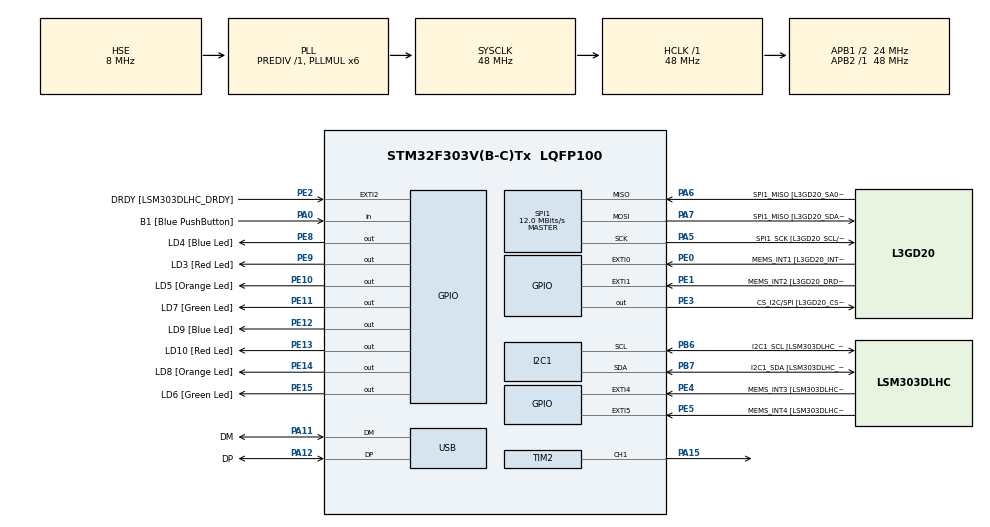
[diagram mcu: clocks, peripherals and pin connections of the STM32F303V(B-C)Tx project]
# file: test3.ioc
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I2C1.Timing-I2C=0x2000090E
Mcu.Family=STM32F3
Mcu.Name=STM32F303V(B-C)Tx
Mcu.Package=LQFP100
NVIC.PriorityGroup=NVIC_PRIORITYGROUP_0
NVIC.TIM3_IRQn=true\:0\:0\:false\:false\:true\:true\:true\:true
PA0.GPIO_Label=B1 [Blue PushButton]
PA0.Signal=GPIO_Input
PA11.GPIO_Label=DM
PA11.Mode=Device
PA11.Signal=USB_DM
PA12.GPIO_Label=DP
PA12.Mode=Device
PA12.Signal=USB_DP
PA13.GPIO_Label=SWDIO
PA13.Mode=Serial_Wire
PA13.Signal=SYS_JTMS-SWDIO
PA14.GPIO_Label=SWCLK
PA14.Mode=Serial_Wire
PA14.Signal=SYS_JTCK-SWCLK
PA15.Signal=S_TIM2_CH1_ETR
PA5.GPIO_Label=SPI1_SCK [L3GD20_SCL/SPC]
PA5.Mode=Full_Duplex_Master
PA5.Signal=SPI1_SCK
PA6.GPIO_Label=SPI1_MISO [L3GD20_SA0/SDO]
PA6.Mode=Full_Duplex_Master
PA6.Signal=SPI1_MISO
PA7.GPIO_Label=SPI1_MISO [L3GD20_SDA/SDI/SDO]
PA7.Mode=Full_Duplex_Master
PA7.Signal=SPI1_MOSI
PB3.GPIO_Label=SWO
PB3.Signal=SYS_JTDO-TRACESWO
PB6.GPIO_Label=I2C1_SCL [LSM303DLHC_SCL]
PB6.GPIO_Pu=GPIO_PULLUP
PB6.Mode=I2C
PB6.Signal=I2C1_SCL
PB7.GPIO_Label=I2C1_SDA [LSM303DLHC_SDA]
PB7.GPIO_Pu=GPIO_PULLUP
PB7.Mode=I2C
PB7.Signal=I2C1_SDA
PC14-OSC32_IN.GPIO_Label=OSC32_IN
PC14-OSC32_IN.Signal=RCC_OSC32_IN
PC15-OSC32_OUT.GPIO_Label=OSC32_OUT
PC15-OSC32_OUT.Signal=RCC_OSC32_OUT
PE0.GPIO_Label=MEMS_INT1 [L3GD20_INT1]
PE0.GPIO_ModeDefaultEXTI=GPIO_MODE_EVT_RISING
PE0.Signal=GPXTI0
PE1.GPIO_Label=MEMS_INT2 [L3GD20_DRDY/INT2]
PE1.GPIO_ModeDefaultEXTI=GPIO_MODE_EVT_RISING
PE1.Signal=GPXTI1
PE10.GPIO_Label=LD5 [Orange Led]
PE10.Signal=GPIO_Output
PE11.GPIO_Label=LD7 [Green Led]
PE11.Signal=GPIO_Output
PE12.GPIO_Label=LD9 [Blue Led]
PE12.Signal=GPIO_Output
PE13.GPIO_Label=LD10 [Red Led]
PE13.Signal=GPIO_Output
PE14.GPIO_Label=LD8 [Orange Led]
PE14.Signal=GPIO_Output
PE15.GPIO_Label=LD6 [Green Led]
PE15.Signal=GPIO_Output
PE2.GPIO_Label=DRDY [LSM303DLHC_DRDY]
PE2.GPIO_ModeDefaultEXTI=GPIO_MODE_EVT_RISING
PE2.Signal=GPXTI2
PE3.GPIO_Label=CS_I2C/SPI [L3GD20_CS_I2C/SPI]
PE3.Signal=GPIO_Output
PE4.GPIO_Label=MEMS_INT3 [LSM303DLHC_INT1]
PE4.GPIO_ModeDefaultEXTI=GPIO_MODE_EVT_RISING
PE4.Signal=GPXTI4
PE5.GPIO_Label=MEMS_INT4 [LSM303DLHC_INT2]
PE5.GPIO_ModeDefaultEXTI=GPIO_MODE_EVT_RISING
PE5.Signal=GPXTI5
PE8.GPIO_Label=LD4 [Blue Led]
PE8.Signal=GPIO_Output
PE9.GPIO_Label=LD3 [Red Led]
PE9.Signal=GPIO_Output
PF0-OSC_IN.GPIO_Label=OSC_IN
PF0-OSC_IN.Mode=HSE-External-Clock-Source
PF0-OSC_IN.Signal=RCC_OSC_IN
PF1-OSC_OUT.GPIO_Label=OSC_OUT
PF1-OSC_OUT.Signal=RCC_OSC_OUT
ProjectManager.HeapSize=0x200
ProjectManager.StackSize=0x400
ProjectManager.TargetToolchain=STM32CubeIDE
RCC.AHBFreq_Value=48000000
RCC.APB1CLKDivider=RCC_HCLK_DIV2
RCC.APB1Freq_Value=24000000
RCC.APB1TimFreq_Value=48000000
RCC.APB2Freq_Value=48000000
RCC.APB2TimFreq_Value=48000000
RCC.CortexFreq_Value=48000000
RCC.HCLKFreq_Value=48000000
RCC.HSE_VALUE=8000000
RCC.HSI_VALUE=8000000
RCC.LSE_VALUE=32768
RCC.PLLMUL=RCC_PLL_MUL6
RCC.SYSCLKFreq_VALUE=48000000
RCC.SYSCLKSourceVirtual=RCC_SYSCLKSOURCE_PLLCLK
RCC.USBFreq_Value=48000000
SH.S_TIM2_CH1_ETR.0=TIM2_CH1,PWM Generation1 CH1
SPI1.BaudRatePrescaler=SPI_BAUDRATEPRESCALER_4
SPI1.BaudRatePrescaler-Full_Duplex_Master=SPI_BAUDRATEPRESCALER_2
SPI1.CalculateBaudRate=12.0 MBits/s
SPI1.CalculateBaudRate-Full_Duplex_Master=24.0 MBits/s
SPI1.Direction=SPI_DIRECTION_2LINES
SPI1.Mode=SPI_MODE_MASTER
SPI1.Mode-Full_Duplex_Master=SPI_MODE_MASTER
SPI1.VirtualType=VM_MASTER
TIM2.Channel-PWM\ Generation1\ CH1=TIM_CHANNEL_1
TIM3.Period=999
TIM3.Prescaler=47999
VP_TIM2_VS_ClockSourceINT.Mode=Internal
VP_TIM3_VS_ClockSourceINT.Mode=Internal
board=STM32F3DISCOVERY

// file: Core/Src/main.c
/* USER CODE BEGIN Header */
/**
  ******************************************************************************
  * @file           : main.c
  * @brief          : Main program body
  ******************************************************************************
  * @attention
  *
  * Copyright (c) 2023 STMicroelectronics.
  * All rights reserved.
  *
  * This software is licensed under terms that can be found in the LICENSE file
  * in the root directory of this software component.
  * If no LICENSE file comes with this software, it is provided AS-IS.
  *
  ******************************************************************************
  */
/* USER CODE END Header */
#include "main.h"

I2C_HandleTypeDef hi2c1;

SPI_HandleTypeDef hspi1;

TIM_HandleTypeDef htim2;
TIM_HandleTypeDef htim3;

PCD_HandleTypeDef hpcd_USB_FS;

void SystemClock_Config(void);
static void MX_GPIO_Init(void);
static void MX_I2C1_Init(void);
static void MX_SPI1_Init(void);
static void MX_USB_PCD_Init(void);
static void MX_TIM2_Init(void);
static void MX_TIM3_Init(void);

/* USER CODE BEGIN 0 */
TIM_HandleTypeDef *buzzerPwmTimer;
uint32_t buzzerPwmChannel;

void buzzerInit() {
    buzzerPwmTimer = &htim2;
    buzzerPwmChannel = TIM_CHANNEL_1;
    HAL_TIM_PWM_Start(buzzerPwmTimer, buzzerPwmChannel);
}

void buzzerChangeTone(uint16_t freq, uint16_t volume) {
    if (freq == 0 || freq > 20000) {
        __HAL_TIM_SET_COMPARE(buzzerPwmTimer, buzzerPwmChannel, 0);
    } else {
        const uint32_t internalClockFreq = HAL_RCC_GetSysClockFreq();
        const uint32_t prescaler = 1 + internalClockFreq / freq / 60000;
        const uint32_t timerClock = internalClockFreq / prescaler;
        const uint32_t periodCycles = timerClock / freq;
        const uint32_t pulseWidth = volume * periodCycles / 1000 / 2;

        buzzerPwmTimer->Instance->PSC = prescaler - 1;
        buzzerPwmTimer->Instance->ARR = periodCycles - 1;
        buzzerPwmTimer->Instance->EGR = TIM_EGR_UG;

        __HAL_TIM_SET_COMPARE(buzzerPwmTimer, buzzerPwmChannel, pulseWidth);
    }
}
/* USER CODE END 0 */

int main(void)
{

  /* MCU Configuration--------------------------------------------------------*/

  /* Reset of all peripherals, Initializes the Flash interface and the Systick. */
  HAL_Init();

  /* Configure the system clock */
  SystemClock_Config();

  /* Initialize all configured peripherals */
  MX_GPIO_Init();
  MX_I2C1_Init();
  MX_SPI1_Init();
  MX_USB_PCD_Init();
  MX_TIM2_Init();
  MX_TIM3_Init();
  /* USER CODE BEGIN 2 */
buzzerInit();
buzzerChangeTone(500, 10);
//HAL_TIM_Base_Start_IT(&ht36.21im3);
  /* USER CODE END 2 */

  /* Infinite loop */
  while (1)
  {

  }
}

void SystemClock_Config(void)
{
  RCC_OscInitTypeDef RCC_OscInitStruct = {0};
  RCC_ClkInitTypeDef RCC_ClkInitStruct = {0};
  RCC_PeriphCLKInitTypeDef PeriphClkInit = {0};

  /** Initializes the RCC Oscillators according to the specified parameters
  * in the RCC_OscInitTypeDef structure.
  */
  RCC_OscInitStruct.OscillatorType = RCC_OSCILLATORTYPE_HSI|RCC_OSCILLATORTYPE_HSE;
  RCC_OscInitStruct.HSEState = RCC_HSE_BYPASS;
  RCC_OscInitStruct.HSEPredivValue = RCC_HSE_PREDIV_DIV1;
  RCC_OscInitStruct.HSIState = RCC_HSI_ON;
  RCC_OscInitStruct.HSICalibrationValue = RCC_HSICALIBRATION_DEFAULT;
  RCC_OscInitStruct.PLL.PLLState = RCC_PLL_ON;
  RCC_OscInitStruct.PLL.PLLSource = RCC_PLLSOURCE_HSE;
  RCC_OscInitStruct.PLL.PLLMUL = RCC_PLL_MUL6;
  if (HAL_RCC_OscConfig(&RCC_OscInitStruct) != HAL_OK)
  {
    Error_Handler();
  }

  /** Initializes the CPU, AHB and APB buses clocks
  */
  RCC_ClkInitStruct.ClockType = RCC_CLOCKTYPE_HCLK|RCC_CLOCKTYPE_SYSCLK
                              |RCC_CLOCKTYPE_PCLK1|RCC_CLOCKTYPE_PCLK2;
  RCC_ClkInitStruct.SYSCLKSource = RCC_SYSCLKSOURCE_PLLCLK;
  RCC_ClkInitStruct.AHBCLKDivider = RCC_SYSCLK_DIV1;
  RCC_ClkInitStruct.APB1CLKDivider = RCC_HCLK_DIV2;
  RCC_ClkInitStruct.APB2CLKDivider = RCC_HCLK_DIV1;

  if (HAL_RCC_ClockConfig(&RCC_ClkInitStruct, FLASH_LATENCY_1) != HAL_OK)
  {
    Error_Handler();
  }
  PeriphClkInit.PeriphClockSelection = RCC_PERIPHCLK_USB|RCC_PERIPHCLK_I2C1;
  PeriphClkInit.I2c1ClockSelection = RCC_I2C1CLKSOURCE_HSI;
  PeriphClkInit.USBClockSelection = RCC_USBCLKSOURCE_PLL;
  if (HAL_RCCEx_PeriphCLKConfig(&PeriphClkInit) != HAL_OK)
  {
    Error_Handler();
  }
}

static void MX_I2C1_Init(void)
{

  hi2c1.Instance = I2C1;
  hi2c1.Init.Timing = 0x2000090E;
  hi2c1.Init.OwnAddress1 = 0;
  hi2c1.Init.AddressingMode = I2C_ADDRESSINGMODE_7BIT;
  hi2c1.Init.DualAddressMode = I2C_DUALADDRESS_DISABLE;
  hi2c1.Init.OwnAddress2 = 0;
  hi2c1.Init.OwnAddress2Masks = I2C_OA2_NOMASK;
  hi2c1.Init.GeneralCallMode = I2C_GENERALCALL_DISABLE;
  hi2c1.Init.NoStretchMode = I2C_NOSTRETCH_DISABLE;
  if (HAL_I2C_Init(&hi2c1) != HAL_OK)
  {
    Error_Handler();
  }

  /** Configure Analogue filter
  */
  if (HAL_I2CEx_ConfigAnalogFilter(&hi2c1, I2C_ANALOGFILTER_ENABLE) != HAL_OK)
  {
    Error_Handler();
  }

  /** Configure Digital filter
  */
  if (HAL_I2CEx_ConfigDigitalFilter(&hi2c1, 0) != HAL_OK)
  {
    Error_Handler();
  }

}

static void MX_SPI1_Init(void)
{

  /* SPI1 parameter configuration*/
  hspi1.Instance = SPI1;
  hspi1.Init.Mode = SPI_MODE_MASTER;
  hspi1.Init.Direction = SPI_DIRECTION_2LINES;
  hspi1.Init.DataSize = SPI_DATASIZE_4BIT;
  hspi1.Init.CLKPolarity = SPI_POLARITY_LOW;
  hspi1.Init.CLKPhase = SPI_PHASE_1EDGE;
  hspi1.Init.NSS = SPI_NSS_SOFT;
  hspi1.Init.BaudRatePrescaler = SPI_BAUDRATEPRESCALER_4;
  hspi1.Init.FirstBit = SPI_FIRSTBIT_MSB;
  hspi1.Init.TIMode = SPI_TIMODE_DISABLE;
  hspi1.Init.CRCCalculation = SPI_CRCCALCULATION_DISABLE;
  hspi1.Init.CRCPolynomial = 7;
  hspi1.Init.CRCLength = SPI_CRC_LENGTH_DATASIZE;
  hspi1.Init.NSSPMode = SPI_NSS_PULSE_ENABLE;
  if (HAL_SPI_Init(&hspi1) != HAL_OK)
  {
    Error_Handler();
  }

}

static void MX_TIM2_Init(void)
{

  TIM_ClockConfigTypeDef sClockSourceConfig = {0};
  TIM_MasterConfigTypeDef sMasterConfig = {0};
  TIM_OC_InitTypeDef sConfigOC = {0};

  htim2.Instance = TIM2;
  htim2.Init.Prescaler = 0;
  htim2.Init.CounterMode = TIM_COUNTERMODE_UP;
  htim2.Init.Period = 4294967295;
  htim2.Init.ClockDivision = TIM_CLOCKDIVISION_DIV1;
  htim2.Init.AutoReloadPreload = TIM_AUTORELOAD_PRELOAD_DISABLE;
  if (HAL_TIM_Base_Init(&htim2) != HAL_OK)
  {
    Error_Handler();
  }
  sClockSourceConfig.ClockSource = TIM_CLOCKSOURCE_INTERNAL;
  if (HAL_TIM_ConfigClockSource(&htim2, &sClockSourceConfig) != HAL_OK)
  {
    Error_Handler();
  }
  if (HAL_TIM_PWM_Init(&htim2) != HAL_OK)
  {
    Error_Handler();
  }
  sMasterConfig.MasterOutputTrigger = TIM_TRGO_RESET;
  sMasterConfig.MasterSlaveMode = TIM_MASTERSLAVEMODE_DISABLE;
  if (HAL_TIMEx_MasterConfigSynchronization(&htim2, &sMasterConfig) != HAL_OK)
  {
    Error_Handler();
  }
  sConfigOC.OCMode = TIM_OCMODE_PWM1;
  sConfigOC.Pulse = 0;
  sConfigOC.OCPolarity = TIM_OCPOLARITY_HIGH;
  sConfigOC.OCFastMode = TIM_OCFAST_DISABLE;
  if (HAL_TIM_PWM_ConfigChannel(&htim2, &sConfigOC, TIM_CHANNEL_1) != HAL_OK)
  {
    Error_Handler();
  }
  HAL_TIM_MspPostInit(&htim2);

}

static void MX_TIM3_Init(void)
{

  TIM_ClockConfigTypeDef sClockSourceConfig = {0};
  TIM_MasterConfigTypeDef sMasterConfig = {0};

  htim3.Instance = TIM3;
  htim3.Init.Prescaler = 47999;
  htim3.Init.CounterMode = TIM_COUNTERMODE_UP;
  htim3.Init.Period = 999;
  htim3.Init.ClockDivision = TIM_CLOCKDIVISION_DIV1;
  htim3.Init.AutoReloadPreload = TIM_AUTORELOAD_PRELOAD_DISABLE;
  if (HAL_TIM_Base_Init(&htim3) != HAL_OK)
  {
    Error_Handler();
  }
  sClockSourceConfig.ClockSource = TIM_CLOCKSOURCE_INTERNAL;
  if (HAL_TIM_ConfigClockSource(&htim3, &sClockSourceConfig) != HAL_OK)
  {
    Error_Handler();
  }
  sMasterConfig.MasterOutputTrigger = TIM_TRGO_RESET;
  sMasterConfig.MasterSlaveMode = TIM_MASTERSLAVEMODE_DISABLE;
  if (HAL_TIMEx_MasterConfigSynchronization(&htim3, &sMasterConfig) != HAL_OK)
  {
    Error_Handler();
  }

}

static void MX_USB_PCD_Init(void)
{

  hpcd_USB_FS.Instance = USB;
  hpcd_USB_FS.Init.dev_endpoints = 8;
  hpcd_USB_FS.Init.speed = PCD_SPEED_FULL;
  hpcd_USB_FS.Init.phy_itface = PCD_PHY_EMBEDDED;
  hpcd_USB_FS.Init.low_power_enable = DISABLE;
  hpcd_USB_FS.Init.battery_charging_enable = DISABLE;
  if (HAL_PCD_Init(&hpcd_USB_FS) != HAL_OK)
  {
    Error_Handler();
  }

}

static void MX_GPIO_Init(void)
{
  GPIO_InitTypeDef GPIO_InitStruct = {0};

  /* GPIO Ports Clock Enable */
  __HAL_RCC_GPIOE_CLK_ENABLE();
  __HAL_RCC_GPIOC_CLK_ENABLE();
  __HAL_RCC_GPIOF_CLK_ENABLE();
  __HAL_RCC_GPIOA_CLK_ENABLE();
  __HAL_RCC_GPIOB_CLK_ENABLE();

  /*Configure GPIO pin Output Level */
  HAL_GPIO_WritePin(GPIOE, CS_I2C_SPI_Pin|LD4_Pin|LD3_Pin|LD5_Pin
                          |LD7_Pin|LD9_Pin|LD10_Pin|LD8_Pin
                          |LD6_Pin, GPIO_PIN_RESET);

  /*Configure GPIO pins : DRDY_Pin MEMS_INT3_Pin MEMS_INT4_Pin MEMS_INT1_Pin
                           MEMS_INT2_Pin */
  GPIO_InitStruct.Pin = DRDY_Pin|MEMS_INT3_Pin|MEMS_INT4_Pin|MEMS_INT1_Pin
                          |MEMS_INT2_Pin;
  GPIO_InitStruct.Mode = GPIO_MODE_EVT_RISING;
  GPIO_InitStruct.Pull = GPIO_NOPULL;
  HAL_GPIO_Init(GPIOE, &GPIO_InitStruct);

  /*Configure GPIO pins : CS_I2C_SPI_Pin LD4_Pin LD3_Pin LD5_Pin
                           LD7_Pin LD9_Pin LD10_Pin LD8_Pin
                           LD6_Pin */
  GPIO_InitStruct.Pin = CS_I2C_SPI_Pin|LD4_Pin|LD3_Pin|LD5_Pin
                          |LD7_Pin|LD9_Pin|LD10_Pin|LD8_Pin
                          |LD6_Pin;
  GPIO_InitStruct.Mode = GPIO_MODE_OUTPUT_PP;
  GPIO_InitStruct.Pull = GPIO_NOPULL;
  GPIO_InitStruct.Speed = GPIO_SPEED_FREQ_LOW;
  HAL_GPIO_Init(GPIOE, &GPIO_InitStruct);

  /*Configure GPIO pin : B1_Pin */
  GPIO_InitStruct.Pin = B1_Pin;
  GPIO_InitStruct.Mode = GPIO_MODE_INPUT;
  GPIO_InitStruct.Pull = GPIO_NOPULL;
  HAL_GPIO_Init(B1_GPIO_Port, &GPIO_InitStruct);

}

/* USER CODE BEGIN 4 */
void HAL_TIM_PeriodElapsedCallback(TIM_HandleTypeDef *htim)
{
	static int t = 1;
    if (htim->Instance == TIM3)
    {
    	if(t == 1){
    		t = 0;
    		buzzerChangeTone(500, 10);
    	}
    	else {
    		t = 1;
    		buzzerChangeTone(0, 0);
    	}
    }
}
/* USER CODE END 4 */

void Error_Handler(void)
{
  __disable_irq();
  while (1)
  {
  }
}
